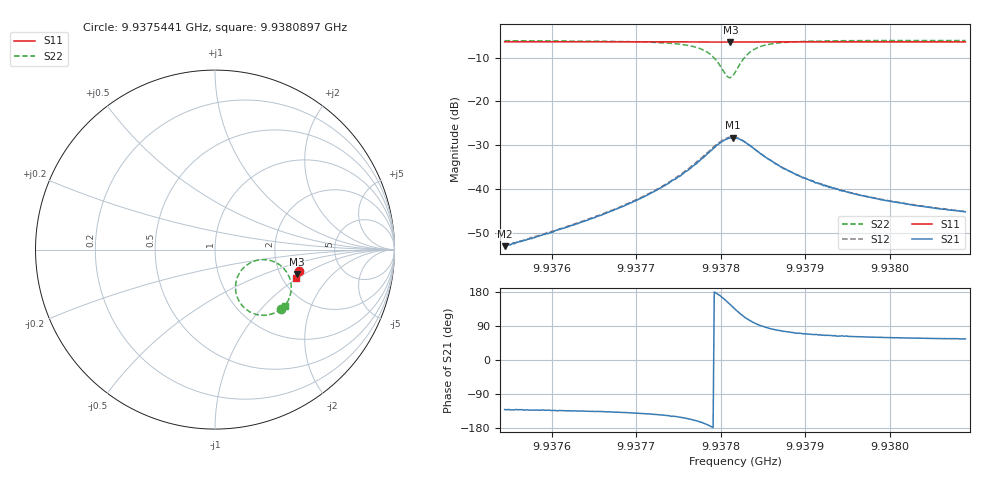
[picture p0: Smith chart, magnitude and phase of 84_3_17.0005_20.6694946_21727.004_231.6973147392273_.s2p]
#  HZ  S  RI  R  50.00
! Rohde & Schwarz Vector Network Analyzer
! Rohde-Schwarz,ZNB20-2Port,1311601062101988,3.16
! Created: UTC 3/20/2024, 10:55:51 PM
! freq[Hz]  re:S11  im:S11  re:S21  im:S21  re:S12  im:S12  re:S22  im:S22
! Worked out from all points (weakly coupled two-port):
!   401 points, 9.9375441 GHz to 9.9380897 GHz, reference 50 ohm
!   highest |S21| = -28.31 dB at 9.9378142 GHz (marker M1); lowest = -53.1 dB at 9.9375441 GHz (marker M2)
!   lowest |S11| = -6.4 dB at 9.9378114 GHz (marker M3), VSWR 2.82, Z = 123 - j43.8 ohm
!   |S11| at or under -10 dB: nowhere
!   |S22| runs from -14.5 to -6.0 dB; largest |S21 - S12| = 0.0021
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9.93754412e9  0.4666 -0.122  -0.00144 -0.00167  -0.00151 -0.00169  0.3699 -0.3299
9.93759867e9  0.4654 -0.1258  -0.00217 -0.0023  -0.00222 -0.00234  0.3606 -0.3366
9.9376355e9  0.4642 -0.1283  -0.00295 -0.00297  -0.00305 -0.00297  0.3518 -0.3426
9.9376846e9  0.4632 -0.1317  -0.00472 -0.0042  -0.0049 -0.00419  0.3333 -0.3524
9.93772688e9  0.4617 -0.1347  -0.00811 -0.00579  -0.00837 -0.00581  0.3016 -0.3627
9.93775961e9  0.4604 -0.1372  -0.0144 -0.00697  -0.0149 -0.00678  0.2475 -0.3646
9.93778007e9  0.4588 -0.1386  -0.0225 -0.0052  -0.0234 -0.00485  0.1819 -0.3391
9.93778962e9  0.4579 -0.1388  -0.0279 -0.00159  -0.029 -0.000731  0.1428 -0.3008
9.93779917e9  0.4569 -0.1387  -0.0329 0.0059  -0.0336 0.00758  0.1153 -0.2299
9.93780735e9  0.4564 -0.138  -0.0335 0.0162  -0.0338 0.0181  0.1279 -0.1471
9.93781144e9  0.4563 -0.1377  -0.0317 0.0214  -0.0313 0.0234  0.153 -0.1084
9.93781417e9  0.4564 -0.1374  -0.0295 0.0246  -0.0289 0.0266  0.1758 -0.0872
9.9378169e9  0.4567 -0.1372  -0.0267 0.0273  -0.0257 0.029  0.2022 -0.0711
9.93782372e9  0.4575 -0.137  -0.0187 0.0311  -0.0176 0.0323  0.2721 -0.0558
9.93783054e9  0.4582 -0.1373  -0.0111 0.0314  -0.00994 0.0319  0.3308 -0.0684
9.93784417e9  0.4591 -0.1385  -0.00149 0.0266  -0.000598 0.0267  0.3967 -0.122
9.93785645e9  0.4593 -0.1396  0.00221 0.0218  0.0029 0.0217  0.418 -0.1652
9.93787282e9  0.4592 -0.1413  0.00418 0.0169  0.00467 0.017  0.4251 -0.206
9.93790828e9  0.4586 -0.1442  0.00473 0.0112  0.00486 0.0114  0.4193 -0.2534
9.93794374e9  0.4577 -0.147  0.00413 0.00847  0.00454 0.00845  0.4106 -0.2767
9.93799966e9  0.4564 -0.1508  0.00372 0.00624  0.00387 0.0062  0.4002 -0.2961
9.93808968e9  0.4539 -0.1567  0.00305 0.00451  0.00322 0.00452  0.3883 -0.3132
